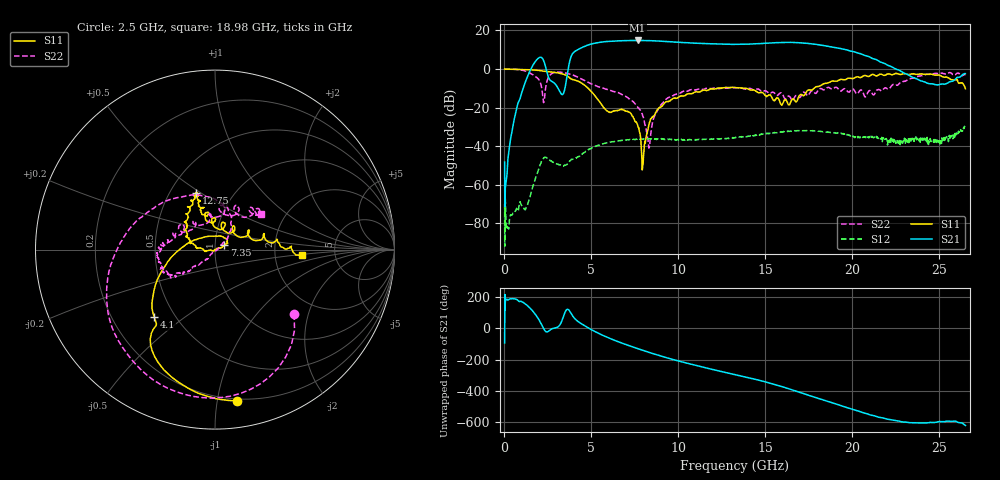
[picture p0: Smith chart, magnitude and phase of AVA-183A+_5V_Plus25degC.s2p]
!Mini-Circuits Laboratory
!S-Parameters
!Model: AVA-183A+
!Run / Lot / Date Code: YH0198_QM1152003 / BP080P001 / 1152
!Fixture: TB-547-2+/DC1136
!Network Analyzer: PNA-X N5242A - 423 4 ports;  Serial number: 71404
!Date: 1/25/2012 at 1:30:25 PM
!S/N: Unit# 1
!Tested with: Port Extension
!Connection: Port1=Pin2; Port2=Pin5; Pins 7 & 8 used for feeding DC; Pins 1,3,4,&6 not used.
!Temperature: 25°C.
!Vs=5V, ID=132.12mA.
# Hz  S  dB  R  50
!Frequency  S11 dB  S11 Deg  S21 dB  S21 Deg  S12 dB  S12 Deg  S22 dB  S22 Deg
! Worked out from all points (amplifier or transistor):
!   984 points, 10 MHz to 26.5 GHz, reference 50 ohm
!   highest |S21| = 14.8 dB at 7.65 GHz (marker M1)
!   |S21| within 3 dB of that: 4.624 GHz to 18.59 GHz (13.97 GHz wide, 120 % of centre)
!   unconditionally stable (mu >= 1): start of sweep to end of sweep
!   at 6.025 GHz: K = 7.01, MAG = 14.7 dB, |S12| = -38.0 dB
!   at 14.22 GHz: K = 5.18, MAG = 13.7 dB, |S12| = -34.7 dB
!   at 26.5 GHz: K = 10.23, MAG = 1.0 dB, |S12| = -30.6 dB
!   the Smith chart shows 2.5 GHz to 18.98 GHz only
!   S11 on the Smith chart (normalised r, x): 2.5 GHz: 0.19, -1.14; 4.1 GHz: 0.38, -0.39; 7.35 GHz: 1.11, +0.06; 12.75 GHz: 0.67, +0.48; 18.98 GHz: 2.86, -0.21
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1e7  -0.01 -0.4  -48.28 -92.5  -69.92 -142.8  -0.06 -0.3
1.85e9  -0.66 -61.0  4.69 79.2  -54.86 58.3  -4.36 -88.8
2.15e9  -1.00 -71.3  5.81 21.8  -47.33 -17.3  -10.24 -111.7
2.5e9  -1.39 -81.7  -3.46 -20.7  -46.58 -117.1  -4.89 -39.3
3.65e9  -3.85 -124.0  -0.90 122.8  -48.89 175.5  -2.41 -130.6
4.1e9  -5.91 -132.0  9.37 56.9  -46.12 162.9  -3.78 -158.9
4.425e9  -7.25 -142.9  10.93 30.0  -44.49 158.4  -5.21 -179.2
5.45e9  -16.76 162.6  13.78 -33.8  -39.43 125.7  -9.39 118.0
6.35e9  -21.62 64.1  14.48 -77.1  -37.53 98.6  -11.89 78.0
7.35e9  -24.49 28.4  14.74 -117.8  -36.74 73.8  -16.64 52.3
7.65e9  -28.80 15.7  14.77 -129.2  -36.38 66.3  -19.61 44.8
7.975e9  -48.99 -163.3  14.72 -141.3  -36.40 61.4  -24.72 41.1
8.85e9  -20.45 175.3  14.48 -172.4  -36.31 43.6  -20.84 -134.5
1.0675e10  -12.84 136.6  13.47 131.8  -36.59 18.1  -10.83 -149.5
1.275e10  -9.57 108.8  12.84 76.0  -36.09 -2.3  -10.00 -169.6
1.3275e10  -9.61 108.8  12.74 62.4  -35.44 -5.0  -9.89 -175.2
1.57e10  -15.10 92.8  13.64 -5.1  -32.81 -32.5  -13.70 148.2
1.7675e10  -10.92 13.1  13.00 -76.1  -32.13 -63.5  -11.31 62.2
1.8975e10  -6.30 -3.3  11.15 -122.5  -33.12 -81.8  -9.75 37.2
2.01e10  -4.82 -22.6  8.89 -163.2  -35.24 -94.3  -10.91 49.4
2.21e10  -2.55 -35.7  1.69 136.0  -36.97 -108.9  -10.32 43.3
2.65e10  -10.24 34.2  -2.40 96.7  -30.57 178.7  -2.99 34.2
